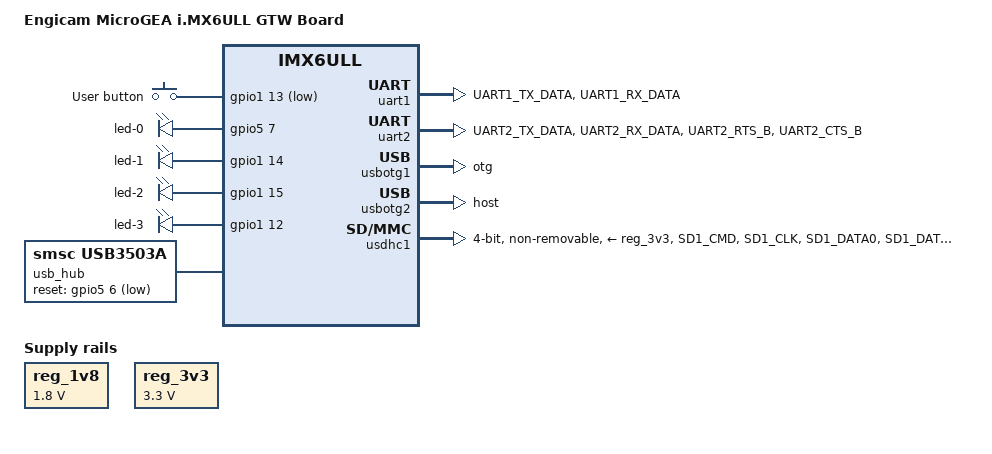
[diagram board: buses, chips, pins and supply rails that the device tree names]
// SPDX-License-Identifier: GPL-2.0
/*
 * Copyright (C) 2025 Amarula Solutions, Dario Binacchi <dario.binacchi@amarulasolutions.com>
 * Copyright (C) 2025 Engicam srl
 */

/dts-v1/;

#include "imx6ull-engicam-microgea.dtsi"

/ {
	compatible = "engicam,microgea-imx6ull-gtw",
		     "engicam,microgea-imx6ull", "fsl,imx6ull";
	model = "Engicam MicroGEA i.MX6ULL GTW Board";

	reg_1v8: regulator-1v8 {
		compatible = "regulator-fixed";
		regulator-name = "1v8";
		regulator-min-microvolt = <1800000>;
		regulator-max-microvolt = <1800000>;
	};

	reg_3v3: regulator-3v3 {
		compatible = "regulator-fixed";
		regulator-name = "3v3";
		regulator-min-microvolt = <3300000>;
		regulator-max-microvolt = <3300000>;
	};

	gpio-keys {
		compatible = "gpio-keys";
		pinctrl-names = "default";
		pinctrl-0 = <&pinctrl_gpio_keys>;

		user-button {
			label = "User button";
			gpios = <&gpio1 13 GPIO_ACTIVE_LOW>;
			linux,code = <BTN_MISC>;
			wakeup-source;
		};
	};

	leds {
		compatible = "gpio-leds";
		pinctrl-names = "default";
		pinctrl-0 = <&pinctrl_leds>, <&pinctrl_pwrled>;

		led-0 {
			gpios = <&gpio5 7 GPIO_ACTIVE_HIGH>;
			default-state = "on";
		};

		led-1 {
			gpios = <&gpio1 14 GPIO_ACTIVE_HIGH>;
		};

		led-2 {
			gpios = <&gpio1 15 GPIO_ACTIVE_HIGH>;
		};

		led-3 {
			gpios = <&gpio1 12 GPIO_ACTIVE_HIGH>;
		};
	};

	usb_hub: usb-hub {
		compatible = "smsc,usb3503a";
		pinctrl-names = "default";
		pinctrl-0 = <&pinctrl_usb_hub>;
		reset-gpios = <&gpio5 6 GPIO_ACTIVE_LOW>;
	};
};

&uart1 {
	pinctrl-names = "default";
	pinctrl-0 = <&pinctrl_uart1>;
	status = "okay";
};

&uart2 {
	pinctrl-names = "default";
	pinctrl-0 = <&pinctrl_uart2>;
	status = "okay";
};

&usbotg1 {
	dr_mode = "otg";
	status = "okay";
};

&usbotg2 {
	dr_mode = "host";
	disable-over-current;
	status = "okay";
};

/* MicroSD */
&usdhc1 {
	pinctrl-names = "default";
	pinctrl-0 = <&pinctrl_usdhc1>;
	vmmc-supply = <&reg_3v3>;
	bus-width = <4>;
	non-removable;
	status = "okay";
};

&iomuxc {
	pinctrl_gpio_keys: gpio_keysgrp {
		fsl,pins = <
			MX6UL_PAD_JTAG_TDI__GPIO1_IO13		0x0b0b0
		>;
	};

	pinctrl_leds: ledsgrp {
		fsl,pins = <
			MX6UL_PAD_JTAG_TCK__GPIO1_IO14		0x130b0
			MX6UL_PAD_JTAG_TRST_B__GPIO1_IO15	0x130b0
			MX6UL_PAD_JTAG_TDO__GPIO1_IO12		0x130b0
		>;
	};

	pinctrl_uart1: uart1grp {
		fsl,pins = <
			MX6UL_PAD_UART1_TX_DATA__UART1_DCE_TX	0x1b0b1
			MX6UL_PAD_UART1_RX_DATA__UART1_DCE_RX	0x1b0b1
		>;
	};

	pinctrl_uart2: uart2grp {
		fsl,pins = <
			MX6UL_PAD_UART2_TX_DATA__UART2_DCE_TX	0x1b0b1
			MX6UL_PAD_UART2_RX_DATA__UART2_DCE_RX	0x1b0b1
			MX6UL_PAD_UART2_RTS_B__UART2_DCE_RTS	0x1b0b1
			MX6UL_PAD_UART2_CTS_B__UART2_DCE_CTS	0x1b0b1
		>;
	};

	pinctrl_usdhc1: usdhc1grp {
		fsl,pins = <
			MX6UL_PAD_SD1_CMD__USDHC1_CMD		0x17059
			MX6UL_PAD_SD1_CLK__USDHC1_CLK		0x10059
			MX6UL_PAD_SD1_DATA0__USDHC1_DATA0	0x17059
			MX6UL_PAD_SD1_DATA1__USDHC1_DATA1	0x17059
			MX6UL_PAD_SD1_DATA2__USDHC1_DATA2	0x17059
			MX6UL_PAD_SD1_DATA3__USDHC1_DATA3	0x17059
		>;
	};
};

&iomuxc_snvs {
	pinctrl_pwrled: ledsgrp {
		fsl,pins = <
			MX6ULL_PAD_SNVS_TAMPER7__GPIO5_IO07	0x130b0
		>;
	};

	pinctrl_usb_hub: usb_hubgrp {
		fsl,pins = <
			MX6ULL_PAD_SNVS_TAMPER6__GPIO5_IO06	0x17059
		>;
	};
};
